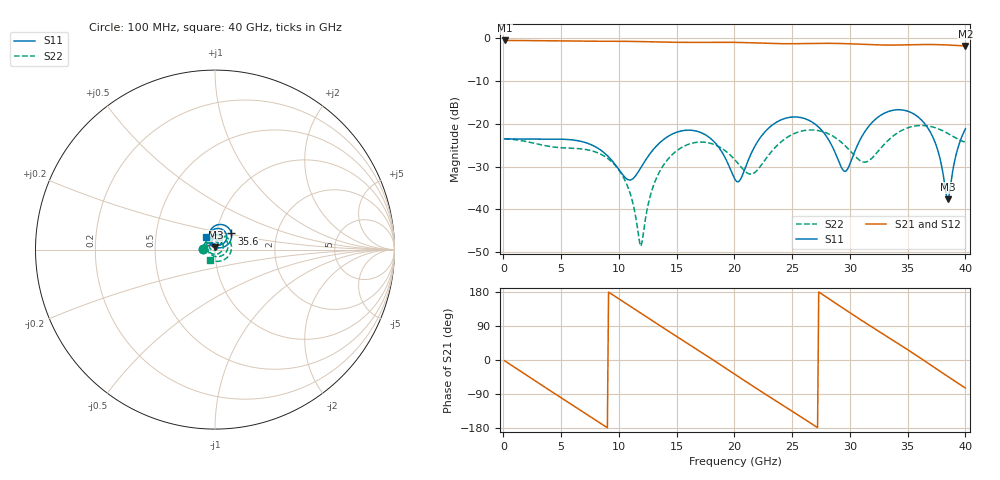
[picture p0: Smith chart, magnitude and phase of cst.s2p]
! thru_s8_L3: 2×thru, L3, 8 mm
! stackup: 8-layer 1.6 mm FR-4 (generic)
! ports: 1, 2
! CST Studio Suite 2025.5 Release from 2025-05-30, time domain (FIT, hexahedral, PBA), 90440 mesh cells, 21 s
! mesh: {'lpw': 20, 'lpb': 20, 'minstep': 0.0, 'ratio': 20}; ports: port 1 (face); port 2 (face)
! interpolated from CST's 1001 samples to the case grid
# Hz S RI R 50
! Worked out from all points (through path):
!   400 points, 100 MHz to 40 GHz, reference 50 ohm
!   highest |S21| = -0.59 dB at 100 MHz (marker M1); lowest = -1.9 dB at 40 GHz (marker M2)
!   group delay of S21, straight-line fit = 55 ps
!   lowest |S11| = -37.6 dB at 38.5 GHz (marker M3), VSWR 1.03, Z = 50.2 + j1.31 ohm
!   |S11| at or under -10 dB: start of sweep to end of sweep
!   |S22| runs from -48.6 to -20.4 dB; largest |S21 - S12| = 5.4e-06
!   S11 on the Smith chart (normalised r, x): 100 MHz: 0.88, +0.00; 35.6 GHz: 1.18, +0.22; 40 GHz: 0.89, +0.13
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1e8  -0.0665 0.00165  0.9337 -0.0328  0.9337 -0.0328  -0.0664 0.0016
3.6e9  -0.0438 0.0495  0.2851 -0.8801  0.2851 -0.8801  -0.041 0.0374
6.8e9  -0.001 0.0619  -0.6506 -0.6443  -0.6506 -0.6443  -0.0133 0.049
8.5e9  0.0157 0.0458  -0.8981 -0.1759  -0.8981 -0.1759  0.00933 0.0426
1.02e10  0.00877 0.0253  -0.8421 0.3545  -0.8421 0.3545  0.0194 0.0177
1.11e10  -0.00364 0.022  -0.6891 0.5955  -0.6891 0.5955  0.0129 0.00374
1.19e10  -0.0156 0.0265  -0.4965 0.7587  -0.4965 0.7587  0.000892 -0.00363
1.34e10  -0.0266 0.0511  -0.0544 0.8954  -0.0544 0.8954  -0.0254 0.00398
1.51e10  -0.00735 0.08  0.4415 0.7711  0.4415 0.7711  -0.0306 0.0388
1.71e10  0.0332 0.0714  0.8289 0.3192  0.8289 0.3192  0.0121 0.0599
2.01e10  0.00731 0.0207  0.69 -0.5578  0.69 -0.5578  0.0359 -0.00965
2.15e10  -0.0265 0.0381  0.3427 -0.8071  0.3427 -0.8071  -0.00421 -0.0256
2.32e10  -0.0297 0.0898  -0.1553 -0.8475  -0.1553 -0.8475  -0.0458 0.0111
2.67e10  0.0636 0.0836  -0.8445 -0.171  -0.8445 -0.171  0.0423 0.0733
2.96e10  0.00594 0.0272  -0.583 0.6294  -0.583 0.6294  0.0469 -0.0291
3.13e10  -0.032 0.0745  -0.13 0.829  -0.13 0.829  -0.0211 -0.0288
3.34e10  0.0165 0.1387  0.433 0.7023  0.433 0.7023  -0.0362 0.0547
3.56e10  0.091 0.0903  0.805 0.2192  0.805 0.2192  0.0581 0.0738
3.73e10  0.0608 0.0205  0.7892 -0.2782  0.7892 -0.2782  0.0905 -0.00295
3.85e10  0.00183 0.013  0.595 -0.5743  0.595 -0.5743  0.0542 -0.0544
3.92e10  -0.0301 0.0319  0.4321 -0.6942  0.4321 -0.6942  0.0176 -0.0655
4e10  -0.052 0.0697  0.2233 -0.7747  0.2233 -0.7747  -0.0256 -0.0554
